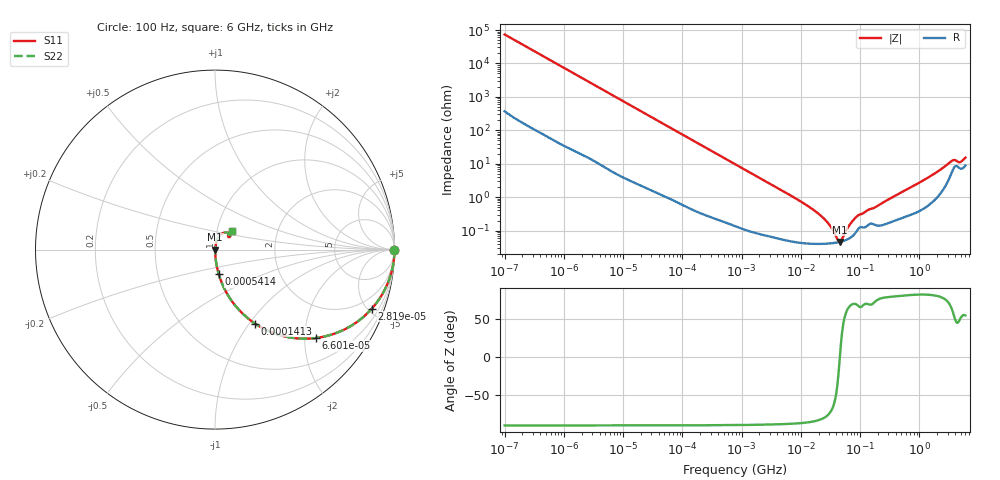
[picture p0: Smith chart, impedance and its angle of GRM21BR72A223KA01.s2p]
!Murata Part Number: GRM21BR72A223KA01
!These Parameters are Measured in Series Mode Connection
!Data Generated on Mar 30, 2021
!  o--ll--o
!Port1  Port2
!  o------o
!Operation Temp=25[degC], DC Bias Voltage=0[V]
!Freq. Start=100[Hz] Stop=6[GHz] 401[Steps]
# Hz S RI R 50
!Freq.(Hz) S11(Real) S11(Imag) S21(Real) S21(Imag) S12(Real) S12(Imag) S22(Real) S22(Imag)
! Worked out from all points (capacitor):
!   401 points, 100 Hz to 6 GHz, reference 50 ohm
!   read as one part in series: C = 21.6 nF near 109 Hz
!   lowest |Z| = 45.8 mohm at 45.56 MHz (marker M1)
!   series resonance near 45.61 MHz, so ESL is about 560 pH
!   S11 on the Smith chart (normalised r, x): 100 Hz: open; 28.19 kHz: 1.03, -5.30; 66 kHz: 1.02, -2.27; 141.3 kHz: 1.01, -1.07; 541.4 kHz: 1.00, -0.28; 6 GHz: 1.18, +0.25
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100  1 -0.00136  8.7e-06 0.00136  8.7e-06 0.00136  1 -0.00136
2008  0.9991 -0.0271  0.000872 0.0271  0.000872 0.0271  0.9991 -0.0271
8801  0.9856 -0.1164  0.0144 0.1164  0.0144 0.1164  0.9856 -0.1164
28191  0.8739 -0.3288  0.1261 0.3288  0.1261 0.3288  0.8739 -0.3288
40335  0.7735 -0.4152  0.2265 0.4152  0.2265 0.4152  0.7735 -0.4152
66005  0.5633 -0.4923  0.4367 0.4923  0.4367 0.4923  0.5633 -0.4923
141303  0.223 -0.4122  0.777 0.4122  0.777 0.4122  0.223 -0.4122
252896  0.084 -0.2726  0.916 0.2726  0.916 0.2726  0.084 -0.2726
541393  0.0209 -0.1369  0.9791 0.1369  0.9791 0.1369  0.0209 -0.1369
774597  0.0108 -0.0969  0.9892 0.0969  0.9892 0.0969  0.0108 -0.0969
1.555665e7  0.000421 -0.00441  0.9996 0.00441  0.9996 0.00441  0.000421 -0.00441
2.784235e7  0.000409 -0.00175  0.9996 0.00175  0.9996 0.00175  0.000409 -0.00175
4.165952e7  0.000443 -0.000311  0.9996 0.000311  0.9996 0.000311  0.000443 -0.000311
4.556224e7  0.000458 -3.3e-06  0.9995 3.3e-06  0.9995 3.3e-06  0.000458 -3.3e-06
4.983056e7  0.000477 0.000306  0.9995 -0.000306  0.9995 -0.000306  0.000477 0.000306
6.817316e7  0.000607 0.00145  0.9994 -0.00145  0.9994 -0.00145  0.000607 0.00145
8.918374e7  0.001 0.00251  0.999 -0.00251  0.999 -0.00251  0.001 0.00251
3.124326e8  0.00179 0.00866  0.9982 -0.00866  0.9982 -0.00866  0.00179 0.00866
1.369159e9  0.00668 0.0366  0.9933 -0.0366  0.9933 -0.0366  0.00668 0.0366
3.505958e9  0.06 0.096  0.94 -0.096  0.94 -0.096  0.06 0.096
4.796499e9  0.0739 0.0719  0.9261 -0.0719  0.9261 -0.0719  0.0739 0.0719
6e9  0.0928 0.1033  0.9072 -0.1033  0.9072 -0.1033  0.0928 0.1033
